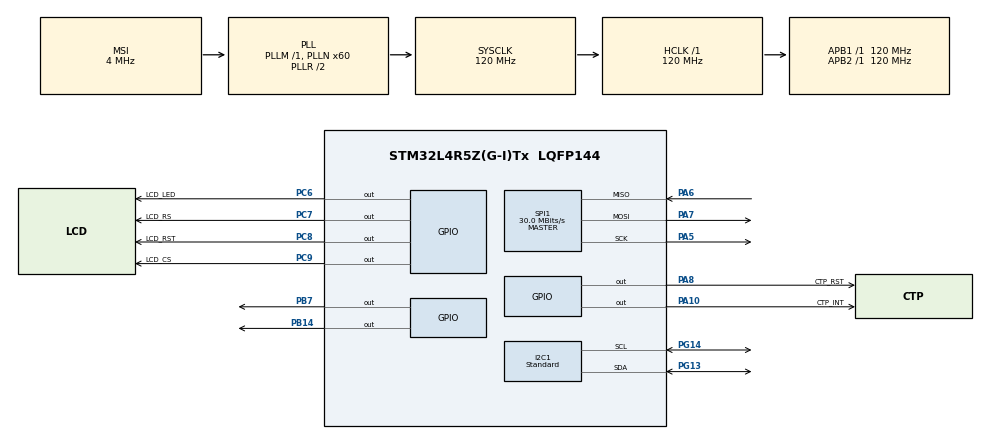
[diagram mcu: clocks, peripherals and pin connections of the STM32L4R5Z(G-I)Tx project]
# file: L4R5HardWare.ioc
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Dma.Request0=SPI1_TX
Dma.SPI1_TX.0.Direction=DMA_MEMORY_TO_PERIPH
Dma.SPI1_TX.0.EventEnable=DISABLE
Dma.SPI1_TX.0.Instance=DMA1_Channel2
Dma.SPI1_TX.0.MemDataAlignment=DMA_MDATAALIGN_HALFWORD
Dma.SPI1_TX.0.MemInc=DMA_MINC_ENABLE
Dma.SPI1_TX.0.Mode=DMA_NORMAL
Dma.SPI1_TX.0.PeriphDataAlignment=DMA_PDATAALIGN_HALFWORD
Dma.SPI1_TX.0.PeriphInc=DMA_PINC_DISABLE
Dma.SPI1_TX.0.Polarity=HAL_DMAMUX_REQUEST_GEN_RISING
Dma.SPI1_TX.0.Priority=DMA_PRIORITY_LOW
Dma.SPI1_TX.0.RequestNumber=1
Dma.SPI1_TX.0.SignalID=NONE
Dma.SPI1_TX.0.SyncEnable=DISABLE
Dma.SPI1_TX.0.SyncPolarity=HAL_DMAMUX_SYNC_NO_EVENT
Dma.SPI1_TX.0.SyncRequestNumber=1
Dma.SPI1_TX.0.SyncSignalID=NONE
I2C1.I2C_Speed_Mode=I2C_Standard
I2C1.Timing=0x307075B1
Mcu.Family=STM32L4
Mcu.Name=STM32L4R5Z(G-I)Tx
Mcu.Package=LQFP144
NVIC.DMA1_Channel2_IRQn=true\:0\:0\:false\:false\:true\:false\:true\:true
NVIC.PriorityGroup=NVIC_PRIORITYGROUP_4
NVIC.TIM3_IRQn=true\:0\:0\:false\:true\:true\:1\:true\:true\:true
PA10.GPIO_Label=CTP_INT
PA10.PinState=GPIO_PIN_SET
PA10.Signal=GPIO_Output
PA13\ (JTMS/SWDIO).Mode=Serial_Wire
PA13\ (JTMS/SWDIO).Signal=SYS_JTMS-SWDIO
PA14\ (JTCK/SWCLK).Mode=Serial_Wire
PA14\ (JTCK/SWCLK).Signal=SYS_JTCK-SWCLK
PA5.Mode=Full_Duplex_Master
PA5.Signal=SPI1_SCK
PA6.Mode=Full_Duplex_Master
PA6.Signal=SPI1_MISO
PA7.Mode=Full_Duplex_Master
PA7.Signal=SPI1_MOSI
PA8.GPIO_Label=CTP_RST
PA8.PinState=GPIO_PIN_SET
PA8.Signal=GPIO_Output
PB14.Signal=GPIO_Output
PB7.Signal=GPIO_Output
PC6.GPIO_Label=LCD_LED
PC6.PinState=GPIO_PIN_SET
PC6.Signal=GPIO_Output
PC7.GPIO_Label=LCD_RS
PC7.PinState=GPIO_PIN_SET
PC7.Signal=GPIO_Output
PC8.GPIO_Label=LCD_RST
PC8.PinState=GPIO_PIN_SET
PC8.Signal=GPIO_Output
PC9.GPIO_Label=LCD_CS
PC9.PinState=GPIO_PIN_SET
PC9.Signal=GPIO_Output
PG13.Mode=I2C
PG13.Signal=I2C1_SDA
PG14.Mode=I2C
PG14.Signal=I2C1_SCL
PH0-OSC_IN\ (PH0).Mode=HSE-External-Oscillator
PH0-OSC_IN\ (PH0).Signal=RCC_OSC_IN
PH1-OSC_OUT\ (PH1).Mode=HSE-External-Oscillator
PH1-OSC_OUT\ (PH1).Signal=RCC_OSC_OUT
ProjectManager.HeapSize=0x4000
ProjectManager.StackSize=0x4000
ProjectManager.TargetToolchain=MDK-ARM V5.32
RCC.AHBFreq_Value=120000000
RCC.APB1Freq_Value=120000000
RCC.APB1TimFreq_Value=120000000
RCC.APB2Freq_Value=120000000
RCC.APB2TimFreq_Value=120000000
RCC.CortexFreq_Value=120000000
RCC.HCLKFreq_Value=120000000
RCC.HSE_VALUE=8000000
RCC.HSI48_VALUE=48000000
RCC.HSI_VALUE=16000000
RCC.LSE_VALUE=32768
RCC.MSI_VALUE=4000000
RCC.PLLN=60
RCC.SYSCLKFreq_VALUE=120000000
RCC.SYSCLKSource=RCC_SYSCLKSOURCE_PLLCLK
RCC.VCOOutputFreq_Value=240000000
SPI1.BaudRatePrescaler=SPI_BAUDRATEPRESCALER_4
SPI1.CLKPolarity=SPI_POLARITY_LOW
SPI1.CalculateBaudRate=30.0 MBits/s
SPI1.DataSize=SPI_DATASIZE_8BIT
SPI1.Direction=SPI_DIRECTION_2LINES
SPI1.FirstBit=SPI_FIRSTBIT_MSB
SPI1.Mode=SPI_MODE_MASTER
SPI1.VirtualType=VM_MASTER
TIM2.Prescaler=120-1
TIM3.AutoReloadPreload=TIM_AUTORELOAD_PRELOAD_ENABLE
TIM3.Period=1000-1
TIM3.Prescaler=120-1
VP_TIM2_VS_ClockSourceINT.Mode=Internal
VP_TIM3_VS_ClockSourceINT.Mode=Internal
board=custom

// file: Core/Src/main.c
/* USER CODE BEGIN Header */
/**
  ******************************************************************************
  * @file           : main.c
  * @brief          : Main program body
  ******************************************************************************
  * @attention
  *
  * Copyright (c) 2023 STMicroelectronics.
  * All rights reserved.
  *
  * This software is licensed under terms that can be found in the LICENSE file
  * in the root directory of this software component.
  * If no LICENSE file comes with this software, it is provided AS-IS.
  *
  ******************************************************************************
  */
/* USER CODE END Header */
#include "main.h"
#include "dma.h"
#include "i2c.h"
#include "spi.h"
#include "tim.h"
#include "gpio.h"

/* USER CODE BEGIN Includes */
#include "delay.h"
#include "sys.h"
#include "lcd.h"
#include "touch.h"
#include "lvgl.h"
#include "lv_port_disp_template.h"
#include "lv_port_indev_template.h"
#include "lv_demo_widgets.h"
#include "lv_demo_stress.h"
/* USER CODE END Includes */

void SystemClock_Config(void);
static void MX_NVIC_Init(void);

int main(void)
{

  /* MCU Configuration--------------------------------------------------------*/

  /* Reset of all peripherals, Initializes the Flash interface and the Systick. */
  HAL_Init();

  /* Configure the system clock */
  SystemClock_Config();

  /* Initialize all configured peripherals */
  MX_GPIO_Init();
  MX_DMA_Init();
  MX_SPI1_Init();
  MX_TIM2_Init();
  MX_TIM3_Init();
  MX_I2C1_Init();

  /* Initialize interrupts */
  MX_NVIC_Init();
  /* USER CODE BEGIN 2 */
	LCD_Init();
	HAL_Delay(1000);
	// 清除定时器初始化过程中的更新中断标志，避免定时器一启动就中断
	__HAL_TIM_CLEAR_IT(&htim3, TIM_IT_UPDATE);
	// 使能定时器3更新中断并启动定时器
	HAL_TIM_Base_Start_IT(&htim3);
	lv_init();
	lv_port_disp_init();
	lv_port_indev_init();
	lv_demo_widgets();
	//lv_demo_stress();
  /* USER CODE END 2 */

  /* Infinite loop */
  while (1)
  {

    /* USER CODE BEGIN 3 */
		HAL_Delay(5);
		lv_timer_handler();
  }
  /* USER CODE END 3 */
}

void SystemClock_Config(void)
{
  RCC_OscInitTypeDef RCC_OscInitStruct = {0};
  RCC_ClkInitTypeDef RCC_ClkInitStruct = {0};

  /** Configure the main internal regulator output voltage
  */
  if (HAL_PWREx_ControlVoltageScaling(PWR_REGULATOR_VOLTAGE_SCALE1_BOOST) != HAL_OK)
  {
    Error_Handler();
  }

  /** Initializes the RCC Oscillators according to the specified parameters
  * in the RCC_OscInitTypeDef structure.
  */
  RCC_OscInitStruct.OscillatorType = RCC_OSCILLATORTYPE_MSI;
  RCC_OscInitStruct.MSIState = RCC_MSI_ON;
  RCC_OscInitStruct.MSICalibrationValue = 0;
  RCC_OscInitStruct.MSIClockRange = RCC_MSIRANGE_6;
  RCC_OscInitStruct.PLL.PLLState = RCC_PLL_ON;
  RCC_OscInitStruct.PLL.PLLSource = RCC_PLLSOURCE_MSI;
  RCC_OscInitStruct.PLL.PLLM = 1;
  RCC_OscInitStruct.PLL.PLLN = 60;
  RCC_OscInitStruct.PLL.PLLP = RCC_PLLP_DIV2;
  RCC_OscInitStruct.PLL.PLLQ = RCC_PLLQ_DIV2;
  RCC_OscInitStruct.PLL.PLLR = RCC_PLLR_DIV2;
  if (HAL_RCC_OscConfig(&RCC_OscInitStruct) != HAL_OK)
  {
    Error_Handler();
  }

  /** Initializes the CPU, AHB and APB buses clocks
  */
  RCC_ClkInitStruct.ClockType = RCC_CLOCKTYPE_HCLK|RCC_CLOCKTYPE_SYSCLK
                              |RCC_CLOCKTYPE_PCLK1|RCC_CLOCKTYPE_PCLK2;
  RCC_ClkInitStruct.SYSCLKSource = RCC_SYSCLKSOURCE_PLLCLK;
  RCC_ClkInitStruct.AHBCLKDivider = RCC_SYSCLK_DIV1;
  RCC_ClkInitStruct.APB1CLKDivider = RCC_HCLK_DIV1;
  RCC_ClkInitStruct.APB2CLKDivider = RCC_HCLK_DIV1;

  if (HAL_RCC_ClockConfig(&RCC_ClkInitStruct, FLASH_LATENCY_5) != HAL_OK)
  {
    Error_Handler();
  }
}

/**
  * @brief NVIC Configuration.
  * @retval None
  */
static void MX_NVIC_Init(void)
{
  /* TIM3_IRQn interrupt configuration */
  HAL_NVIC_SetPriority(TIM3_IRQn, 0, 0);
  HAL_NVIC_EnableIRQ(TIM3_IRQn);
}

/* USER CODE BEGIN 4 */
// 定时器更新中断回调函数
void HAL_TIM_PeriodElapsedCallback(TIM_HandleTypeDef *htim)
{
	// 判断是定时器3发生的中断
	if(htim->Instance == TIM3)
	{
			lv_tick_inc(1);
	}
}
/* USER CODE END 4 */

void Error_Handler(void)
{
  __disable_irq();
  while (1)
  {
  }
}
